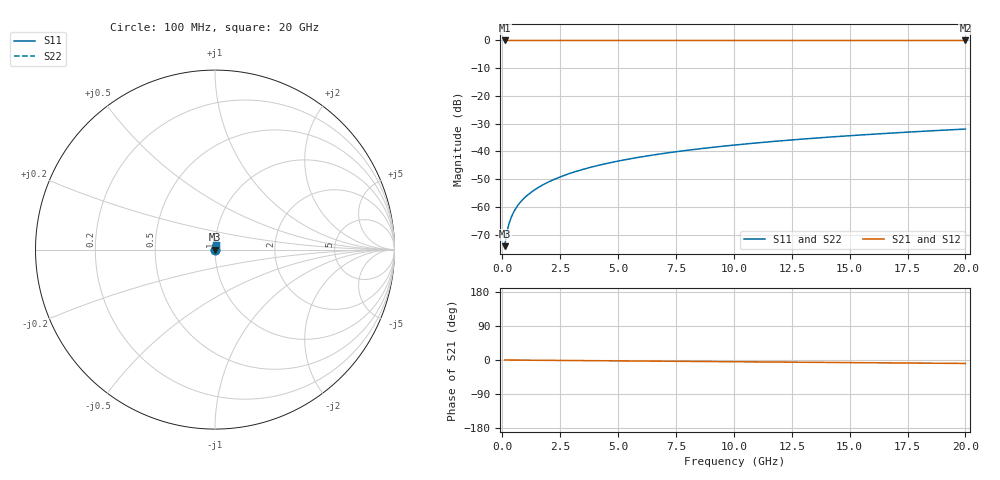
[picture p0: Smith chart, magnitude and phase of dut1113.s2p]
! Touchstone file exported from HFSS 2026.1.0
!  File:  C:/ffzhzh/LocalFiles/Ansys_Project_Files/temp_train_TSV_1113_1783190761_55132.aedt
!  Generated:  02:47:24 AM Jul  5, 2026
!  Design:  TSV
!  Project:  temp_train_TSV_1113_1783190761_55132
! Variables:
!  h_bsmrdl = 2um
!  h_ox = 20um
!  h_rdl = 5um
!  h_sub = 87.07um
!  h_tmrdl = 5um
!  h_tsv = 87.07um
!  h_via = 3um
!  l_bsmrdl = 300um
!  l_sub = 424.52um
!  l_tmrdl = 200um
!  m_sub = 200um
!  pitch = 58.88um
!  r_tsv = 12.26um
!  s_tmrdl = 10um
!  w_bsmrdl = 18um
!  w_sub = 500um
!  w_tmrdl = 12um
!  x_tsv_center1 = 206um
!  x_tsv_center2 = 524um
!  x_tsv_center3 = 736um
!  x_tsv_center4 = 1054um
!  x_tsv_center5 = 1266um
!  x_tsv_center6 = 1584um
# GHz S MA R 50.000000
! Terminal data exported
! Port[1] = TSV1_1_T1
! Port[2] = TSV1_1_T2
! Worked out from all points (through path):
!   200 points, 100 MHz to 20 GHz, reference 50 ohm
!   highest |S21| = 0.00 dB at 100 MHz (marker M1); lowest = 0.0 dB at 20 GHz (marker M2)
!   group delay of S21, straight-line fit = 1.26 ps
!   lowest |S11| = -74.2 dB at 100 MHz (marker M3), VSWR 1.00, Z = 50 + j0.017 ohm
!   |S11| at or under -10 dB: start of sweep to end of sweep
!   |S22| runs from -74.2 to -31.9 dB; largest |S21 - S12| = 1.2e-15
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0.1  0.0001957 60.1  0.9999 -0.0  0.9999 -0.0  0.0001957 60.1
! Gamma 0 0 0 0
! Port Impedance 50 0 50 0
0.2  0.0003539 71.8  0.9999 -0.1  0.9999 -0.1  0.0003539 71.8
0.3  0.000514 75.3  0.9999 -0.1  0.9999 -0.1  0.000514 75.3
0.4  0.0006698 76.8  0.9998 -0.2  0.9998 -0.2  0.0006698 76.8
0.5  0.0008201 77.5  0.9998 -0.2  0.9998 -0.2  0.0008201 77.5
0.6  0.0009652 77.9  0.9998 -0.3  0.9998 -0.3  0.0009652 77.9
0.7  0.001106 78.2  0.9998 -0.3  0.9998 -0.3  0.001106 78.2
0.9  0.001379 78.8  0.9997 -0.4  0.9997 -0.4  0.001379 78.8
1.1  0.001644 79.4  0.9997 -0.5  0.9997 -0.5  0.001644 79.4
1.3  0.001906 79.9  0.9997 -0.6  0.9997 -0.6  0.001906 79.9
1.6  0.002296 80.6  0.9996 -0.7  0.9996 -0.7  0.002296 80.6
1.9  0.002686 81.2  0.9996 -0.9  0.9996 -0.9  0.002686 81.2
2.6  0.003597 82.1  0.9996 -1.2  0.9996 -1.2  0.003597 82.1
3.5  0.004764 82.6  0.9995 -1.6  0.9995 -1.6  0.004764 82.6
4.2  0.005667 82.8  0.9995 -1.9  0.9995 -1.9  0.005667 82.8
5  0.006693 82.8  0.9994 -2.3  0.9994 -2.3  0.006693 82.8
6.8  0.008978 82.6  0.9993 -3.1  0.9993 -3.1  0.008978 82.6
8.3  0.01087 82.3  0.9992 -3.8  0.9992 -3.8  0.01087 82.3
10.1  0.01312 81.8  0.9991 -4.6  0.9991 -4.6  0.01312 81.8
13.4  0.01722 80.8  0.9989 -6.1  0.9989 -6.1  0.01722 80.8
16.7  0.02128 79.6  0.9987 -7.6  0.9987 -7.6  0.02128 79.6
20  0.02529 78.3  0.9985 -9.1  0.9985 -9.1  0.02529 78.3
